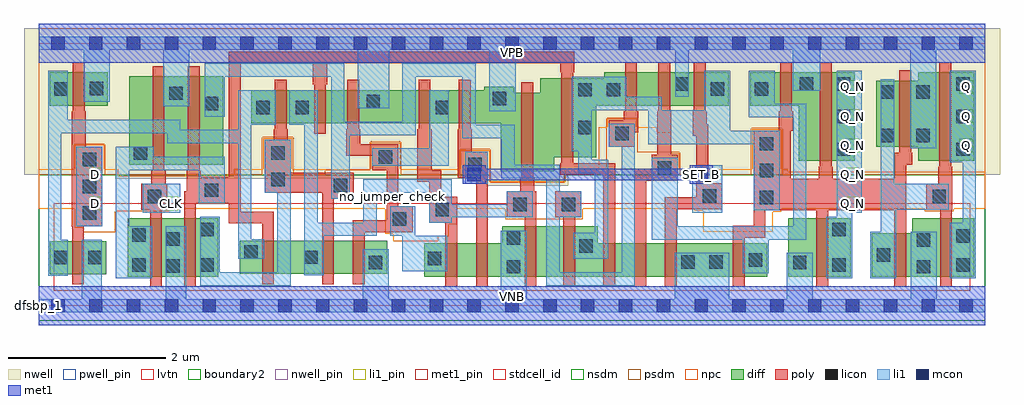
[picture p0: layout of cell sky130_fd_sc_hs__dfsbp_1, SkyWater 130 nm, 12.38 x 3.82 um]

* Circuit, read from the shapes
.subckt sky130_fd_sc_hs__dfsbp_1 CLK D Q Q_N SET_B VGND VNB VPB VPWR
XM1 VGND D n1 VNB sky130_fd_pr__nfet_01v8_lvt w=0.42 l=0.15
XM2 VGND CLK n2 VNB sky130_fd_pr__nfet_01v8_lvt w=0.74 l=0.15
XM3 n3 n2 VGND VNB sky130_fd_pr__nfet_01v8_lvt w=0.74 l=0.15
XM4 n4 n2 n1 VNB sky130_fd_pr__nfet_01v8_lvt w=0.42 l=0.15
XM5 n5 n3 n4 VNB sky130_fd_pr__nfet_01v8_lvt w=0.42 l=0.15
XM6 VGND n6 n5 VNB sky130_fd_pr__nfet_01v8_lvt w=0.42 l=0.15
XM7 n7 n4 n6 VNB sky130_fd_pr__nfet_01v8_lvt w=0.42 l=0.15
XM8 VGND SET_B n7 VNB sky130_fd_pr__nfet_01v8_lvt w=0.42 l=0.15
XM9 n8 n4 VGND VNB sky130_fd_pr__nfet_01v8_lvt w=0.64 l=0.15
XM10 n9 n3 n8 VNB sky130_fd_pr__nfet_01v8_lvt w=0.64 l=0.15
XM11 n10 n2 n9 VNB sky130_fd_pr__nfet_01v8_lvt w=0.42 l=0.15
XM12 n11 n12 n10 VNB sky130_fd_pr__nfet_01v8_lvt w=0.42 l=0.15
XM13 VGND SET_B n11 VNB sky130_fd_pr__nfet_01v8_lvt w=0.42 l=0.15
XM14 n12 n9 VGND VNB sky130_fd_pr__nfet_01v8_lvt w=0.42 l=0.15
XM15 Q_N n9 VGND VNB sky130_fd_pr__nfet_01v8_lvt w=0.74 l=0.15
XM16 VGND n9 n13 VNB sky130_fd_pr__nfet_01v8_lvt w=0.55 l=0.15
XM17 Q n13 VGND VNB sky130_fd_pr__nfet_01v8_lvt w=0.74 l=0.15
XM18 VPWR D n1 VPB sky130_fd_pr__pfet_01v8 w=0.42 l=0.15
XM19 VPWR CLK n2 VPB sky130_fd_pr__pfet_01v8 w=1.12 l=0.15
XM20 n3 n2 VPWR VPB sky130_fd_pr__pfet_01v8 w=1.12 l=0.15
XM21 n4 n3 n1 VPB sky130_fd_pr__pfet_01v8 w=0.42 l=0.15
XM22 n14 n2 n4 VPB sky130_fd_pr__pfet_01v8 w=0.42 l=0.15
XM23 VPWR n6 n14 VPB sky130_fd_pr__pfet_01v8 w=0.42 l=0.15
XM24 n6 n4 VPWR VPB sky130_fd_pr__pfet_01v8 w=0.42 l=0.15
XM25 VPWR SET_B n6 VPB sky130_fd_pr__pfet_01v8 w=0.42 l=0.15
XM26 n15 n4 VPWR VPB sky130_fd_pr__pfet_01v8 w=1 l=0.15
XM27 n9 n2 n15 VPB sky130_fd_pr__pfet_01v8 w=1 l=0.15
XM28 n16 n3 n9 VPB sky130_fd_pr__pfet_01v8 w=0.42 l=0.15
XM29 VPWR n12 n16 VPB sky130_fd_pr__pfet_01v8 w=0.42 l=0.15
XM30 n9 SET_B VPWR VPB sky130_fd_pr__pfet_01v8 w=0.42 l=0.15
XM31 VPWR n9 n12 VPB sky130_fd_pr__pfet_01v8 w=0.42 l=0.15
XM32 Q_N n9 VPWR VPB sky130_fd_pr__pfet_01v8 w=1.12 l=0.15
XM33 VPWR n9 n13 VPB sky130_fd_pr__pfet_01v8 w=0.84 l=0.15
XM34 Q n13 VPWR VPB sky130_fd_pr__pfet_01v8 w=1.12 l=0.15
.ends

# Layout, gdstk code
import gdstk
lib = gdstk.Library(unit=1e-6, precision=1e-09)
def R(c, l, rs):  # rectangles x0, y0, x1, y1
    for r in rs: c.add(gdstk.rectangle(r[:2], r[2:], *l))
def A(c, l, x, y, w, h, nx, ny, dx, dy):  # array of equal rectangles
    R(c, l, [(x+i*dx, y+j*dy, x+i*dx+w, y+j*dy+h) for i in range(nx) for j in range(ny)])
def P(c, l, *ps):  # polygons
    for p in ps: c.add(gdstk.Polygon(p, *l))
nwell_pin = (64, 16)
nwell = (64, 20)
diff = (65, 20)
poly = (66, 20)
licon = (66, 44)
li1_pin = (67, 16)
li1 = (67, 20)
mcon = (67, 44)
met1_pin = (68, 16)
met1 = (68, 20)
stdcell_id = (81, 4)
nsdm = (93, 44)
psdm = (94, 20)
npc = (95, 20)
pwell_pin = (122, 16)
lvtn = (125, 44)
boundary2 = (236, 0)

sky130_fd_sc_hs__dfsbp_1 = lib.new_cell('sky130_fd_sc_hs__dfsbp_1')
R(sky130_fd_sc_hs__dfsbp_1, nwell_pin, [(0,3.085,12,3.33)])
P(sky130_fd_sc_hs__dfsbp_1, nwell, [(12.19,3.52),(-0.19,3.52),(-0.19,1.66),(0.965,1.66),(0.965,1.61),(5.675,1.61),(5.675,1.525),(6.715,1.525),(6.715,1.66),(12.19,1.66)])
R(sky130_fd_sc_hs__dfsbp_1, diff, [(1.125,0.37,2.275,1.11), (9.505,0.37,10.295,1.11), (0.135,0.4,0.855,0.82), (2.545,0.405,4.415,0.825), (1.145,1.79,2.335,2.91), (0.135,2.54,0.875,2.96)])
P(sky130_fd_sc_hs__dfsbp_1, diff, [(8.75,2.96),(7.17,2.96),(7.17,2.885),(6.36,2.885),(6.36,2.705),(6.03,2.705),(6.03,2.775),(5.65,2.775),(5.65,2.735),(2.695,2.735),(2.695,2.315),(5.855,2.315),(5.855,1.705),(6.535,1.705),(6.535,1.885),(7.07,1.885),(7.07,2.54),(8.75,2.54)],
  [(9.235,0.79),(7.085,0.79),(7.085,1.01),(5.875,1.01),(5.875,0.79),(4.89,0.79),(4.89,0.37),(9.235,0.37)],
  [(10.35,2.96),(9.02,2.96),(9.02,2.54),(9.64,2.54),(9.64,1.84),(10.35,1.84)],
  [(11.865,2.96),(11.155,2.96),(11.155,2.855),(10.62,2.855),(10.62,2.015),(11.155,2.015),(11.155,1.84),(11.865,1.84)],
  [(11.865,1.11),(11.075,1.11),(11.075,0.92),(10.565,0.92),(10.565,0.37),(11.865,0.37)])
P(sky130_fd_sc_hs__dfsbp_1, poly, [(7.31,1.81),(6.775,1.81),(6.775,2.96),(6.79,2.96),(6.79,3.225),(2.41,3.225),(2.41,1.63),(2.055,1.63),(2.055,1.715),(2.04,1.715),(2.04,3.04),(1.89,3.04),(1.89,1.715),(1.875,1.715),(1.875,1.45),(1.84,1.45),(1.84,0.24),(1.99,0.24),(1.99,1.3),(2.41,1.3),(2.41,1.045),(2.83,1.045),(2.83,0.275),(2.98,0.275),(2.98,1.195),(2.56,1.195),(2.56,3.075),(3.475,3.075),(3.475,2.81),(3.49,2.81),(3.49,2.185),(3.64,2.185),(3.64,2.81),(3.655,2.81),(3.655,3.075),(6.61,3.075),(6.61,2.96),(6.625,2.96),(6.625,1.81),(6.61,1.81),(6.61,1.66),(7.16,1.66),(7.16,0.24),(7.31,0.24)],
  [(7.6,2.465),(7.585,2.465),(7.585,3.09),(7.435,3.09),(7.435,2.465),(7.42,2.465),(7.42,2.35),(7.23,2.35),(7.23,2.02),(7.56,2.02),(7.56,2.2),(7.6,2.2)],
  [(8.1,1.915),(8.02,1.915),(8.02,2.465),(8.005,2.465),(8.005,3.09),(7.855,3.09),(7.855,2.465),(7.84,2.465),(7.84,1.915),(7.77,1.915),(7.77,1.735),(7.55,1.735),(7.55,0.24),(7.7,0.24),(7.7,1.585),(8.1,1.585)],
  [(8.67,1.555),(8.49,1.555),(8.49,2.305),(8.47,2.305),(8.47,2.465),(8.455,2.465),(8.455,3.09),(8.305,3.09),(8.305,2.465),(8.29,2.465),(8.29,2.155),(8.34,2.155),(8.34,1.375),(7.94,1.375),(7.94,0.24),(8.09,0.24),(8.09,1.225),(8.67,1.225)],
  [(11.08,1.94),(11.065,1.94),(11.065,2.985),(10.915,2.985),(10.915,1.94),(10.85,1.94),(10.85,1.61),(10.07,1.61),(10.07,1.765),(10.055,1.765),(10.055,3.09),(9.905,3.09),(9.905,1.765),(9.89,1.765),(9.89,1.61),(9.535,1.61),(9.535,2.22),(9.565,2.22),(9.565,2.465),(9.55,2.465),(9.55,3.09),(9.4,3.09),(9.4,2.465),(9.385,2.465),(9.385,2.22),(9.065,2.22),(9.065,1.015),(8.8,1.015),(8.8,0.24),(8.95,0.24),(8.95,0.865),(9.215,0.865),(9.215,1.21),(9.86,1.21),(9.86,0.24),(10.01,0.24),(10.01,1.21),(10.85,1.21),(10.85,0.24),(11,0.24),(11,1.79),(11.08,1.79)],
  [(11.585,1.765),(11.57,1.765),(11.57,3.09),(11.42,3.09),(11.42,1.765),(11.405,1.765),(11.405,1.55),(11.255,1.55),(11.255,1.22),(11.43,1.22),(11.43,0.24),(11.58,0.24),(11.58,1.22),(11.585,1.22)],
  [(0.805,2.02),(0.595,2.02),(0.595,2.465),(0.58,2.465),(0.58,3.09),(0.43,3.09),(0.43,2.465),(0.415,2.465),(0.415,1.01),(0.42,1.01),(0.42,0.27),(0.57,0.27),(0.57,1.01),(0.805,1.01)],
  [(1.63,1.55),(1.605,1.55),(1.605,1.715),(1.59,1.715),(1.59,3.04),(1.44,3.04),(1.44,1.715),(1.425,1.715),(1.425,1.55),(1.3,1.55),(1.3,1.22),(1.41,1.22),(1.41,0.24),(1.56,0.24),(1.56,1.22),(1.63,1.22)],
  [(3.99,1.69),(3.195,1.69),(3.195,2.105),(3.155,2.105),(3.155,2.24),(3.14,2.24),(3.14,2.865),(2.99,2.865),(2.99,2.24),(2.975,2.24),(2.975,2.105),(2.865,2.105),(2.865,1.435),(3.59,1.435),(3.59,0.275),(3.74,0.275),(3.74,1.36),(3.99,1.36)],
  [(4.74,1.265),(4.56,1.265),(4.56,2.05),(4.075,2.05),(4.075,2.24),(4.06,2.24),(4.06,2.865),(3.91,2.865),(3.91,2.24),(3.895,2.24),(3.895,1.9),(4.23,1.9),(4.23,1.72),(4.41,1.72),(4.41,1.085),(3.98,1.085),(3.98,0.275),(4.13,0.275),(4.13,0.935),(4.74,0.935)],
  [(5.305,1.385),(5.1,1.385),(5.1,1.72),(4.98,1.72),(4.98,2.24),(4.965,2.24),(4.965,2.865),(4.815,2.865),(4.815,2.24),(4.8,2.24),(4.8,1.57),(4.95,1.57),(4.95,1.055),(5.155,1.055),(5.155,0.24),(5.305,0.24)],
  [(5.695,1.955),(5.49,1.955),(5.49,2.24),(5.475,2.24),(5.475,2.865),(5.325,2.865),(5.325,2.24),(5.31,2.24),(5.31,1.625),(5.545,1.625),(5.545,0.24),(5.695,0.24)],
  [(6.31,1.45),(6.285,1.45),(6.285,1.63),(6.27,1.63),(6.27,2.835),(6.12,2.835),(6.12,1.63),(6.105,1.63),(6.105,1.45),(5.935,1.45),(5.935,1.12),(6.16,1.12),(6.16,0.24),(6.31,0.24)],
  [(6.88,1.45),(6.55,1.45),(6.55,1.12),(6.65,1.12),(6.65,0.24),(6.8,0.24),(6.8,1.12),(6.88,1.12)])
A(sky130_fd_sc_hs__dfsbp_1, licon, 0.555, 1.09, 0.17, 0.17, 1, 3, 0, 0.34)
A(sky130_fd_sc_hs__dfsbp_1, licon, 9.145, 1.29, 0.17, 0.17, 1, 3, 0, 0.34)
A(sky130_fd_sc_hs__dfsbp_1, licon, 10.12, 1.9, 0.17, 0.17, 1, 3, 0, 0.415)
A(sky130_fd_sc_hs__dfsbp_1, licon, 11.635, 1.9, 0.17, 0.17, 1, 3, 0, 0.415)
R(sky130_fd_sc_hs__dfsbp_1, licon, [(5.935,0.41,6.105,0.58), (11.135,0.41,11.305,0.58), (1.615,0.42,1.785,0.59), (1.185,0.43,1.355,0.6), (2.045,0.43,2.215,0.6), (10.065,0.43,10.235,0.6), (11.635,0.43,11.805,0.6), (4.185,0.465,4.355,0.635), (9.565,0.465,9.735,0.635), (8.145,0.47,8.315,0.64), (8.505,0.47,8.675,0.64), (9.005,0.495,9.175,0.665), (4.93,0.515,5.1,0.685), (0.195,0.525,0.365,0.695), (0.625,0.525,0.795,0.695), (3.365,0.53,3.535,0.7), (10.625,0.56,10.795,0.73), (2.605,0.595,2.775,0.765), (6.855,0.675,7.025,0.845), (11.135,0.75,11.305,0.92), (1.615,0.76,1.785,0.93), (5.935,0.775,6.105,0.945), (11.635,0.8,11.805,0.97), (1.185,0.815,1.355,0.985), (2.045,0.88,2.215,1.05), (10.065,0.88,10.235,1.05), (4.49,1.015,4.66,1.185), (5.03,1.135,5.2,1.305), (6.015,1.2,6.185,1.37), (6.63,1.2,6.8,1.37), (1.38,1.3,1.55,1.47), (11.335,1.3,11.505,1.47), (8.42,1.305,8.59,1.475), (2.105,1.38,2.275,1.55), (3.74,1.44,3.91,1.61), (2.945,1.515,3.115,1.685), (7.85,1.665,8.02,1.835), (5.445,1.705,5.615,1.875), (4.31,1.8,4.48,1.97), (1.205,1.85,1.375,2.02), (2.945,1.855,3.115,2.025), (10.68,2.075,10.85,2.245), (11.13,2.075,11.3,2.245), (7.31,2.1,7.48,2.27), (6.84,2.175,7.01,2.345), (2.755,2.43,2.925,2.6), (3.255,2.43,3.425,2.6), (5.03,2.43,5.2,2.6), (2.105,2.48,2.275,2.65), (4.155,2.505,4.325,2.675), (5.755,2.545,5.925,2.715), (1.655,2.61,1.825,2.78), (10.68,2.625,10.85,2.795), (11.13,2.625,11.3,2.795), (6.84,2.655,7.01,2.825), (7.2,2.655,7.37,2.825), (0.195,2.665,0.365,2.835), (8.52,2.665,8.69,2.835), (9.08,2.665,9.25,2.835), (0.645,2.67,0.815,2.84), (8.07,2.73,8.24,2.9), (9.65,2.73,9.82,2.9)])
A(sky130_fd_sc_hs__dfsbp_1, li1_pin, 10.235, 1.21, 0.17, 0.17, 1, 5, 0, 0.37)
A(sky130_fd_sc_hs__dfsbp_1, li1_pin, 11.675, 1.95, 0.17, 0.17, 1, 3, 0, 0.37)
R(sky130_fd_sc_hs__dfsbp_1, li1_pin, [(0.635,1.21,0.805,1.38), (1.595,1.21,1.765,1.38), (0.635,1.58,0.805,1.75)])
R(sky130_fd_sc_hs__dfsbp_1, li1, [(0.475,1.01,0.805,2.02), (1.315,1.18,1.795,1.55), (8.285,1.18,8.67,1.78), (5.405,1.55,5.695,1.955)])
P(sky130_fd_sc_hs__dfsbp_1, li1, [(0,-0.085),(0,0.085),(0.545,0.085),(0.545,0.84),(0.795,0.84),(0.795,0.085),(1.605,0.085),(1.605,1.01),(1.865,1.01),(1.865,0.085),(4.105,0.085),(4.105,0.715),(4.435,0.715),(4.435,0.085),(5.855,0.085),(5.855,0.95),(6.185,0.95),(6.185,0.085),(8.065,0.085),(8.065,0.67),(8.755,0.67),(8.755,0.085),(9.485,0.085),(9.485,0.67),(9.815,0.67),(9.815,0.085),(11.055,0.085),(11.055,0.94),(11.385,0.94),(11.385,0.085),(12,0.085),(12,-0.085)],
  [(0,3.245),(0,3.415),(12,3.415),(12,3.245),(11.38,3.245),(11.38,1.995),(11.05,1.995),(11.05,3.245),(9.91,3.245),(9.91,2.73),(9.56,2.73),(9.56,3.245),(8.24,3.245),(8.24,2.65),(8.07,2.65),(8.07,3.245),(6.05,3.245),(6.05,2.465),(5.71,2.465),(5.71,3.245),(4.44,3.245),(4.44,2.505),(4.045,2.505),(4.045,3.245),(1.905,3.245),(1.905,2.53),(1.575,2.53),(1.575,3.245),(0.895,3.245),(0.895,2.59),(0.565,2.59),(0.565,3.245)],
  [(11.555,1.82),(11.555,2.98),(11.885,2.98),(11.885,0.35),(11.555,0.35),(11.555,1.05),(11.715,1.05),(11.715,1.82)],
  [(10.12,1.13),(10.12,2.98),(10.435,2.98),(10.435,1.18),(10.315,1.18),(10.315,0.35),(9.985,0.35),(9.985,1.13)],
  [(1.455,1.89),(2.355,1.89),(2.355,1.3),(2.025,1.3),(2.025,1.72),(1.145,1.72),(1.145,1.01),(1.435,1.01),(1.435,0.35),(0.975,0.35),(0.975,2.02),(1.455,2.02)],
  [(7.77,0.84),(7.77,1.88),(8.1,1.88),(8.1,1.01),(9.565,1.01),(9.565,2.39),(9,2.39),(9,2.98),(9.33,2.98),(9.33,2.56),(9.735,2.56),(9.735,0.84),(9.255,0.84),(9.255,0.415),(8.925,0.415),(8.925,0.84)],
  [(6.76,2.905),(7.45,2.905),(7.45,2.65),(7.9,2.65),(7.9,2.48),(8.44,2.48),(8.44,2.98),(8.77,2.98),(8.77,2.22),(9.395,2.22),(9.395,1.21),(9.065,1.21),(9.065,2.05),(7.73,2.05),(7.73,2.48),(7.01,2.48),(7.01,1.85),(7.22,1.85),(7.22,0.595),(6.775,0.595),(6.775,0.925),(7.05,0.925),(7.05,1.68),(6.84,1.68),(6.84,1.96),(6.76,1.96)],
  [(10.68,2.875),(10.85,2.875),(10.85,1.55),(11.54,1.55),(11.54,1.22),(10.875,1.22),(10.875,0.35),(10.545,0.35),(10.545,0.94),(10.68,0.94)],
  [(4.455,0.885),(4.455,1.265),(4.775,1.265),(4.775,0.885),(5.18,0.885),(5.18,0.435),(4.605,0.435),(4.605,0.885)],
  [(0.365,2.36),(1.795,2.36),(1.795,2.23),(2.525,2.23),(2.525,2.735),(3.005,2.735),(3.005,2.295),(2.695,2.295),(2.695,0.845),(2.855,0.845),(2.855,0.595),(2.525,0.595),(2.525,2.06),(1.625,2.06),(1.625,2.19),(0.285,2.19),(0.285,0.84),(0.365,0.84),(0.365,0.38),(0.115,0.38),(0.115,2.98),(0.365,2.98)],
  [(3.705,2.905),(2.355,2.905),(2.355,2.4),(2.105,2.4),(2.105,3.075),(3.875,3.075),(3.875,2.335),(4.61,2.335),(4.61,3.075),(5.54,3.075),(5.54,2.295),(6.035,2.295),(6.035,1.79),(6.605,1.79),(6.605,1.45),(6.88,1.45),(6.88,1.12),(6.605,1.12),(6.605,0.425),(7.39,0.425),(7.39,2.02),(7.23,2.02),(7.23,2.31),(7.56,2.31),(7.56,0.255),(6.435,0.255),(6.435,1.62),(5.865,1.62),(5.865,2.125),(5.37,2.125),(5.37,2.905),(4.78,2.905),(4.78,2.165),(3.945,2.165),(3.945,1.36),(3.705,1.36)],
  [(4.23,1.775),(4.23,1.995),(4.95,1.995),(4.95,2.735),(5.2,2.735),(5.2,1.775)],
  [(2.045,0.255),(2.045,1.13),(2.295,1.13),(2.295,0.425),(3.025,0.425),(3.025,1.435),(2.865,1.435),(2.865,2.105),(3.195,2.105),(3.195,0.255)],
  [(3.365,2.295),(3.175,2.295),(3.175,2.735),(3.535,2.735),(3.535,1.055),(4.115,1.055),(4.115,1.605),(5.235,1.605),(5.235,1.29),(5.935,1.29),(5.935,1.45),(6.265,1.45),(6.265,1.12),(5.235,1.12),(5.235,1.055),(4.95,1.055),(4.95,1.435),(4.285,1.435),(4.285,0.885),(3.615,0.885),(3.615,0.385),(3.365,0.385)])
A(sky130_fd_sc_hs__dfsbp_1, mcon, 0.155, -0.085, 0.17, 0.17, 25, 2, 0.48, 3.33)
R(sky130_fd_sc_hs__dfsbp_1, mcon, [(5.435,1.58,5.605,1.75), (8.315,1.58,8.485,1.75)])
R(sky130_fd_sc_hs__dfsbp_1, met1_pin, [(0,0,12,0.245), (8.315,1.58,8.485,1.75), (0,3.085,12,3.33)])
R(sky130_fd_sc_hs__dfsbp_1, met1, [(0,-0.245,12,0.245), (0,3.085,12,3.575)])
P(sky130_fd_sc_hs__dfsbp_1, met1, [(5.665,1.735),(8.255,1.735),(8.255,1.78),(8.545,1.78),(8.545,1.55),(8.255,1.55),(8.255,1.595),(5.665,1.595),(5.665,1.55),(5.375,1.55),(5.375,1.78),(5.665,1.78)])
R(sky130_fd_sc_hs__dfsbp_1, stdcell_id, [(0,0,12,3.33)])
P(sky130_fd_sc_hs__dfsbp_1, nsdm, [(12,1.66),(6.665,1.66),(6.665,1.575),(5.725,1.575),(5.725,1.66),(0,1.66),(0,-0.19),(12,-0.19)])
P(sky130_fd_sc_hs__dfsbp_1, psdm, [(12,3.52),(0,3.52),(0,1.66),(0.445,1.66),(0.445,2.05),(0.835,2.05),(0.835,1.66),(2.835,1.66),(2.835,2.135),(3.225,2.135),(3.225,1.66),(3.63,1.66),(3.63,1.72),(4.2,1.72),(4.2,2.08),(4.59,2.08),(4.59,1.66),(5.335,1.66),(5.335,1.985),(5.725,1.985),(5.725,1.575),(6.665,1.575),(6.665,1.66),(7.2,1.66),(7.2,2.38),(7.59,2.38),(7.59,1.945),(8.13,1.945),(8.13,1.66),(9.035,1.66),(9.035,2.25),(9.425,2.25),(9.425,1.66),(12,1.66)])
P(sky130_fd_sc_hs__dfsbp_1, npc, [(12,1.7),(9.5,1.7),(9.5,1.73),(9.415,1.73),(9.415,2.24),(9.045,2.24),(9.045,1.73),(8.12,1.73),(8.12,1.935),(8.015,1.935),(8.015,2.2),(7.845,2.2),(7.845,2.265),(7.58,2.265),(7.58,2.37),(7.21,2.37),(7.21,2.265),(7.1,2.265),(7.1,1.73),(6.675,1.73),(6.675,1.565),(5.715,1.565),(5.715,1.975),(5.345,1.975),(5.345,1.73),(4.58,1.73),(4.58,2.07),(4.21,2.07),(4.21,1.73),(3.215,1.73),(3.215,2.125),(2.845,2.125),(2.845,1.73),(2.475,1.73),(2.475,1.65),(1.005,1.65),(1.005,1.73),(0.825,1.73),(0.825,2.04),(0.455,2.04),(0.455,1.73),(0,1.73),(0,1.23),(0.455,1.23),(0.455,0.99),(0.56,0.99),(0.56,0.935),(0.965,0.935),(0.965,1.2),(1.65,1.2),(1.65,1.23),(4.39,1.23),(4.39,0.915),(4.495,0.915),(4.495,0.82),(5.065,0.82),(5.065,0.88),(5.195,0.88),(5.195,1.035),(5.3,1.035),(5.3,1.23),(5.915,1.23),(5.915,1.1),(6.9,1.1),(6.9,1.23),(8.32,1.23),(8.32,1.205),(8.425,1.205),(8.425,0.94),(9.31,0.94),(9.31,1.19),(9.415,1.19),(9.415,1.23),(11.235,1.23),(11.235,1.2),(11.605,1.2),(11.605,1.23),(12,1.23)])
R(sky130_fd_sc_hs__dfsbp_1, pwell_pin, [(0,0,12,0.245)])
R(sky130_fd_sc_hs__dfsbp_1, lvtn, [(0.19,0.19,11.81,1.3)])
R(sky130_fd_sc_hs__dfsbp_1, boundary2, [(0,0,12,3.33)])
sky130_fd_sc_hs__dfsbp_1.add(gdstk.Label('dfsbp_1', (0,0), layer=83, texttype=44))
sky130_fd_sc_hs__dfsbp_1.add(gdstk.Label('no_jumper_check', (4.48,1.385), layer=83, texttype=44))
sky130_fd_sc_hs__dfsbp_1.add(gdstk.Label('no_jumper_check', (3.585,1.545), layer=83, texttype=44))
sky130_fd_sc_hs__dfsbp_1.add(gdstk.Label('VNB', (6,0.123), layer=64, texttype=59))
sky130_fd_sc_hs__dfsbp_1.add(gdstk.Label('VPB', (6,3.208), layer=64, texttype=5))
sky130_fd_sc_hs__dfsbp_1.add(gdstk.Label('SET_B', (8.4,1.665), layer=68, texttype=5))
sky130_fd_sc_hs__dfsbp_1.add(gdstk.Label('VPWR', (6,3.208), layer=68, texttype=5))
sky130_fd_sc_hs__dfsbp_1.add(gdstk.Label('VGND', (6,0.123), layer=68, texttype=5))
sky130_fd_sc_hs__dfsbp_1.add(gdstk.Label('Q', (11.76,2.035), layer=67, texttype=5))
sky130_fd_sc_hs__dfsbp_1.add(gdstk.Label('Q', (11.76,2.405), layer=67, texttype=5))
sky130_fd_sc_hs__dfsbp_1.add(gdstk.Label('Q', (11.76,2.775), layer=67, texttype=5))
sky130_fd_sc_hs__dfsbp_1.add(gdstk.Label('Q_N', (10.32,1.295), layer=67, texttype=5))
sky130_fd_sc_hs__dfsbp_1.add(gdstk.Label('Q_N', (10.32,1.665), layer=67, texttype=5))
sky130_fd_sc_hs__dfsbp_1.add(gdstk.Label('Q_N', (10.32,2.035), layer=67, texttype=5))
sky130_fd_sc_hs__dfsbp_1.add(gdstk.Label('Q_N', (10.32,2.405), layer=67, texttype=5))
sky130_fd_sc_hs__dfsbp_1.add(gdstk.Label('Q_N', (10.32,2.775), layer=67, texttype=5))
sky130_fd_sc_hs__dfsbp_1.add(gdstk.Label('D', (0.72,1.295), layer=67, texttype=5))
sky130_fd_sc_hs__dfsbp_1.add(gdstk.Label('D', (0.72,1.665), layer=67, texttype=5))
sky130_fd_sc_hs__dfsbp_1.add(gdstk.Label('CLK', (1.68,1.295), layer=67, texttype=5))

lib.write_gds('sky130_fd_sc_hs__dfsbp_1.gds')
